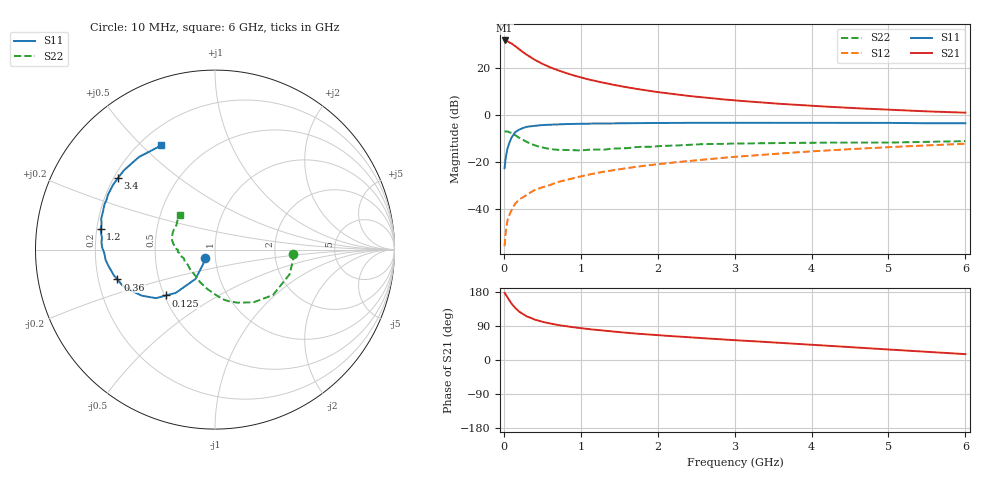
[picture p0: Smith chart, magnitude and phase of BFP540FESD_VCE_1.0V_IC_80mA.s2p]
! Infineon Technologies  Discrete & RF Semiconductors
! BFP540FESD
! VCE =  1.0 V,  IC =  80 mA
! Common Emitter S-Parameters:  Nov 2015
# GHz  S  MA  R  50
!  f  S11  S21  S12  S22
! GHz  MAG  ANG  MAG  ANG  MAG  ANG  MAG  ANG
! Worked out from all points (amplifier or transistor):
!   210 points, 10 MHz to 6 GHz, reference 50 ohm
!   highest |S21| = 31.5 dB at 10 MHz (marker M1)
!   |S21| within 3 dB of that: start of sweep to 171.4 MHz
!   unconditionally stable (mu >= 1): start of sweep to 180.7 MHz; 331.1 MHz to end of sweep
!   at 185 MHz: K = 1.00, MSG = 32.4 dB, |S12| = -36.5 dB
!   at 1.52 GHz: K = 1.22, MAG = 14.8 dB, |S12| = -23.2 dB
!   at 6 GHz: K = 1.29, MAG = 3.4 dB, |S12| = -12.4 dB
!   S11 on the Smith chart (normalised r, x): 10 MHz: 0.89, -0.09; 125 MHz: 0.51, -0.30; 360 MHz: 0.28, -0.14; 1.2 GHz: 0.22, +0.08; 3.4 GHz: 0.22, +0.32; 6 GHz: 0.28, +0.57
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0.01  0.0726 -138.2  37.68 177.2  0.0016 87.8  0.4326 -2.9
0.02  0.1065 -128.9  36.35 173.9  0.0027 86.2  0.4408 -4.7
0.05  0.1962 -123.6  36.04 164.0  0.0059 77.0  0.4384 -18.1
0.1  0.3252 -132.2  32.5 148.7  0.0093 69.8  0.4105 -38.0
0.125  0.3747 -137.0  30.31 143.1  0.0111 68.2  0.384 -45.3
0.15  0.4262 -140.6  28.45 136.7  0.0129 67.0  0.3646 -53.5
0.2  0.481 -147.7  24.5 127.5  0.0157 65.4  0.322 -66.8
0.24  0.5121 -152.8  21.84 122.1  0.0171 63.8  0.2965 -75.5
0.3  0.5521 -158.6  18.58 114.8  0.0199 64.5  0.2615 -86.1
0.36  0.5688 -163.0  16.19 110.4  0.0229 63.9  0.2368 -94.5
0.4  0.5817 -165.8  14.66 106.6  0.0249 63.6  0.2237 -101.1
0.5  0.6 -171.0  12.03 100.7  0.0285 64.8  0.2005 -114.2
0.6  0.612 -174.6  10.15 96.3  0.0319 64.9  0.1858 -123.6
0.8  0.6298 178.7  7.696 89.2  0.0404 65.6  0.1778 -139.8
1.02  0.6349 173.4  6.054 83.4  0.0496 65.4  0.1747 -152.0
1.2  0.6477 169.9  5.124 79.4  0.0572 65.2  0.1812 -159.7
2.02  0.6654 157.5  2.983 65.2  0.0887 60.7  0.2144 179.2
3.1  0.6725 146.5  1.948 51.2  0.1303 54.0  0.244 168.1
3.4  0.6718 143.5  1.783 47.6  0.1415 51.5  0.2475 165.6
4.1  0.6714 137.9  1.509 39.0  0.1694 46.5  0.253 158.4
5.1  0.6646 128.1  1.255 26.5  0.2072 37.3  0.2564 146.5
6  0.6541 117.2  1.1 15.5  0.2405 28.7  0.2728 134.9
